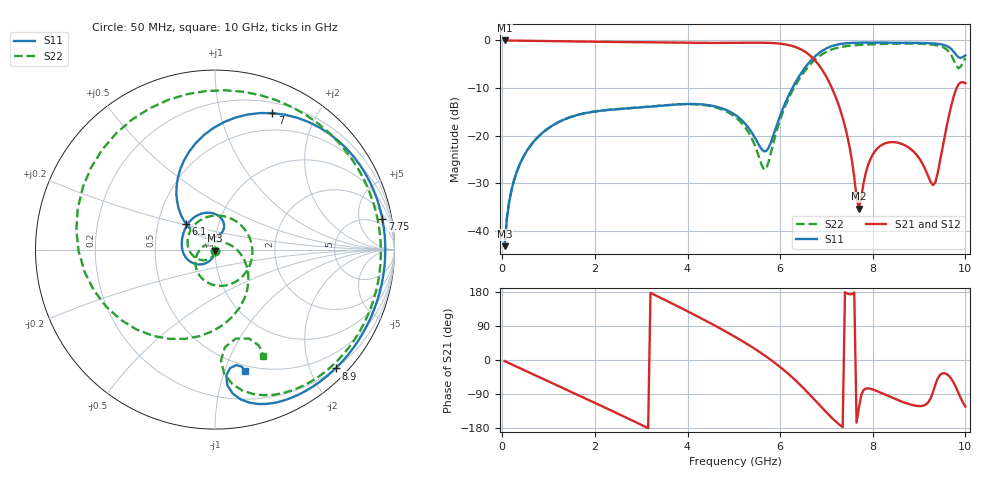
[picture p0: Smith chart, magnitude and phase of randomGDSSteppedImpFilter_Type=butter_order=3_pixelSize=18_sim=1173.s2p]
! freq	dB(S11)	phase(S11)	dB(S12)	phase(S12)
!  dB(S21)	phase(S21)	dB(S22)	phase(S22)
!S-par simulation data
#  GHz  S  DB  R 50
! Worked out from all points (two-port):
!   200 points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, 50 MHz to 10 GHz, reference 50 ohm
!   highest |S21| = -0.01 dB at 50 MHz (marker M1); lowest = -35.4 dB at 7.7 GHz (marker M2)
!   |S21| within 3 dB of the highest: start of sweep to 6.624 GHz
!   lowest |S11| = -43.3 dB at 50 MHz (marker M3), VSWR 1.01, Z = 50 - j0.686 ohm
!   |S11| at or under -10 dB: start of sweep to 6.265 GHz
!   |S22| runs from -43.3 to -0.7 dB; largest |S21 - S12| = 0
!   S11 on the Smith chart (normalised r, x): 50 MHz: 1.00, -0.01; 6.1 GHz: 0.70, +0.21; 7 GHz: 0.31, +1.46; 7.75 GHz: 3, +10; 8.9 GHz: 0.20, -2.42; 10 GHz: 0.45, -1.17
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0.05  -43.27 -91.1  -0.01 -2.9  -0.01 -2.9  -43.28 -92.1
0.2  -31.42 -98.9  -0.02 -11.4  -0.02 -11.4  -31.44 -103.1
0.5  -23.71 -113.6  -0.06 -28.4  -0.06 -28.4  -23.74 -124.2
1.75  -15.38 -166.8  -0.24 -98.9  -0.24 -98.9  -15.37 147.0
2.65  -14.34 163.5  -0.34 -150.5  -0.34 -150.5  -14.31 73.8
3.4  -13.75 140.9  -0.43 165.2  -0.43 165.2  -13.72 8.5
4.3  -13.44 106.4  -0.52 109.7  -0.52 109.7  -13.54 -66.5
5.05  -15.80 73.6  -0.50 59.5  -0.50 59.5  -16.27 -131.5
5.65  -23.34 95.1  -0.48 13.3  -0.48 13.3  -27.14 109.2
6.1  -13.39 138.4  -0.82 -28.5  -0.82 -28.5  -14.05 -27.2
6.4  -7.69 121.2  -1.66 -61.7  -1.66 -61.7  -8.31 -74.9
6.7  -3.86 95.5  -3.67 -99.4  -3.67 -99.4  -4.56 -125.7
7  -1.67 67.2  -7.69 -138.4  -7.69 -138.4  -2.39 -179.2
7.35  -0.68 37.4  -16.29 -177.2  -16.29 -177.2  -1.32 122.4
7.7  -0.47 13.5  -35.42 -126.2  -35.42 -126.2  -0.95 73.7
7.75  -0.46 10.5  -33.05 -93.0  -33.05 -93.0  -0.92 67.6
7.95  -0.46 -0.7  -24.94 -75.9  -24.94 -75.9  -0.82 45.0
8.35  -0.47 -20.5  -21.44 -96.0  -21.44 -96.0  -0.70 7.7
8.9  -0.51 -44.6  -23.57 -120.0  -23.57 -120.0  -0.67 -32.3
9.35  -0.67 -64.3  -29.88 -65.6  -29.88 -65.6  -0.96 -61.1
9.75  -2.40 -84.8  -11.69 -60.6  -11.69 -60.6  -4.17 -86.9
10  -3.13 -76.2  -9.00 -123.1  -9.00 -123.1  -3.74 -65.5
